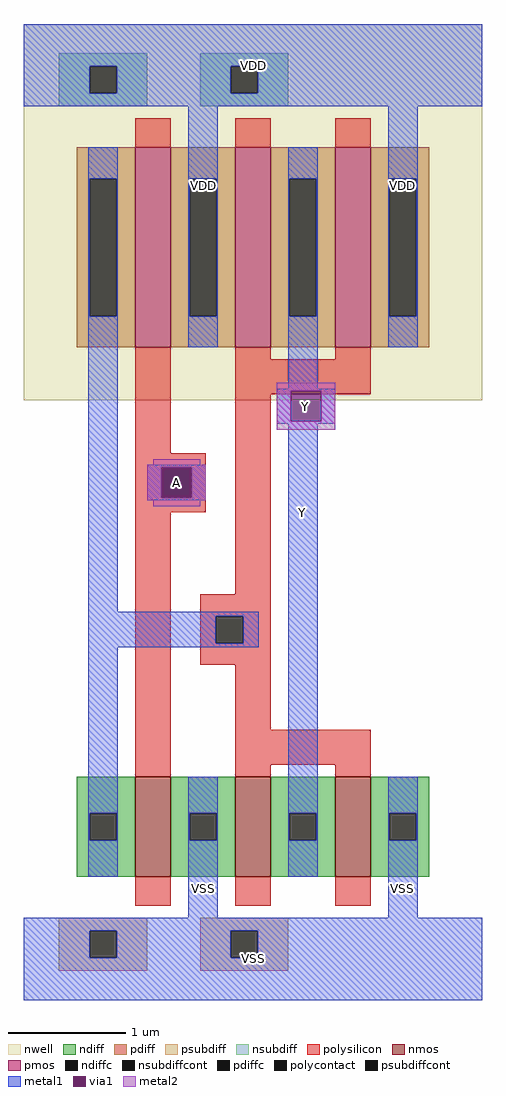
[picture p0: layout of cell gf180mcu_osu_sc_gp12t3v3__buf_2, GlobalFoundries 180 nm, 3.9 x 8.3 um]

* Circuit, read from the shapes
.subckt gf180mcu_osu_sc_gp12t3v3__buf_2 A Y VDD VSS
XM1 VSS A n1 VSS nfet_03v3 w=0.85u l=0.3u
XM2 Y n1 VSS VSS nfet_03v3 w=0.85u l=0.3u m=2
XM3 VDD A n1 VDD pfet_03v3 w=1.7u l=0.3u
XM4 Y n1 VDD VDD pfet_03v3 w=1.7u l=0.3u m=2
.ends

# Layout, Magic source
magic
tech gf180mcuA
magscale 1 10
<< nwell >>
rect 0 1020 780 1660
<< nmos >>
rect 190 210 250 380
rect 360 210 420 380
rect 530 210 590 380
<< pmos >>
rect 190 1110 250 1450
rect 360 1110 420 1450
rect 530 1110 590 1450
<< ndiff >>
rect 90 318 190 380
rect 90 272 112 318
rect 158 272 190 318
rect 90 210 190 272
rect 250 318 360 380
rect 250 272 282 318
rect 328 272 360 318
rect 250 210 360 272
rect 420 318 530 380
rect 420 272 452 318
rect 498 272 530 318
rect 420 210 530 272
rect 590 318 690 380
rect 590 272 622 318
rect 668 272 690 318
rect 590 210 690 272
<< pdiff >>
rect 90 1397 190 1450
rect 90 1163 112 1397
rect 158 1163 190 1397
rect 90 1110 190 1163
rect 250 1397 360 1450
rect 250 1163 282 1397
rect 328 1163 360 1397
rect 250 1110 360 1163
rect 420 1397 530 1450
rect 420 1163 452 1397
rect 498 1163 530 1397
rect 420 1110 530 1163
rect 590 1397 690 1450
rect 590 1163 622 1397
rect 668 1163 690 1397
rect 590 1110 690 1163
<< ndiffc >>
rect 112 272 158 318
rect 282 272 328 318
rect 452 272 498 318
rect 622 272 668 318
<< pdiffc >>
rect 112 1163 158 1397
rect 282 1163 328 1397
rect 452 1163 498 1397
rect 622 1163 668 1397
<< psubdiff >>
rect 60 118 210 140
rect 60 72 112 118
rect 158 72 210 118
rect 60 50 210 72
rect 300 118 450 140
rect 300 72 352 118
rect 398 72 450 118
rect 300 50 450 72
<< nsubdiff >>
rect 60 1588 210 1610
rect 60 1542 112 1588
rect 158 1542 210 1588
rect 60 1520 210 1542
rect 300 1588 450 1610
rect 300 1542 352 1588
rect 398 1542 450 1588
rect 300 1520 450 1542
<< psubdiffcont >>
rect 112 72 158 118
rect 352 72 398 118
<< nsubdiffcont >>
rect 112 1542 158 1588
rect 352 1542 398 1588
<< polysilicon >>
rect 190 1450 250 1500
rect 360 1450 420 1500
rect 530 1450 590 1500
rect 190 930 250 1110
rect 360 1090 420 1110
rect 530 1090 590 1110
rect 360 1030 590 1090
rect 190 903 310 930
rect 190 857 237 903
rect 283 857 310 903
rect 190 830 310 857
rect 190 380 250 830
rect 360 690 420 1030
rect 300 653 420 690
rect 300 607 327 653
rect 373 607 420 653
rect 300 570 420 607
rect 360 460 420 570
rect 360 400 590 460
rect 360 380 420 400
rect 530 380 590 400
rect 190 160 250 210
rect 360 160 420 210
rect 530 160 590 210
<< polycontact >>
rect 237 857 283 903
rect 327 607 373 653
<< metal1 >>
rect 0 1588 780 1660
rect 0 1542 112 1588
rect 158 1542 352 1588
rect 398 1542 780 1588
rect 0 1520 780 1542
rect 110 1397 160 1450
rect 110 1163 112 1397
rect 158 1163 160 1397
rect 110 660 160 1163
rect 280 1397 330 1520
rect 280 1163 282 1397
rect 328 1163 330 1397
rect 280 1110 330 1163
rect 450 1397 500 1450
rect 450 1163 452 1397
rect 498 1163 500 1397
rect 450 1040 500 1163
rect 620 1397 670 1520
rect 620 1163 622 1397
rect 668 1163 670 1397
rect 620 1110 670 1163
rect 430 1036 530 1040
rect 430 984 454 1036
rect 506 984 530 1036
rect 430 980 530 984
rect 210 906 310 910
rect 210 854 234 906
rect 286 854 310 906
rect 210 850 310 854
rect 110 653 400 660
rect 110 607 327 653
rect 373 607 400 653
rect 110 600 400 607
rect 110 318 160 600
rect 110 272 112 318
rect 158 272 160 318
rect 110 210 160 272
rect 280 318 330 380
rect 280 272 282 318
rect 328 272 330 318
rect 280 140 330 272
rect 450 318 500 980
rect 450 272 452 318
rect 498 272 500 318
rect 450 210 500 272
rect 620 318 670 380
rect 620 272 622 318
rect 668 272 670 318
rect 620 140 670 272
rect 0 118 780 140
rect 0 72 112 118
rect 158 72 352 118
rect 398 72 780 118
rect 0 0 780 72
<< via1 >>
rect 454 984 506 1036
rect 234 903 286 906
rect 234 857 237 903
rect 237 857 283 903
rect 283 857 286 903
rect 234 854 286 857
<< metal2 >>
rect 430 1036 530 1050
rect 430 984 454 1036
rect 506 984 530 1036
rect 430 970 530 984
rect 220 910 300 920
rect 210 906 310 910
rect 210 854 234 906
rect 286 854 310 906
rect 210 850 310 854
rect 220 840 300 850
<< labels >>
rlabel via1 s 234 854 286 906 4 A
port 1 nsew signal input
rlabel via1 s 454 984 506 1036 4 Y
port 2 nsew signal output
rlabel metal1 s 280 1110 330 1660 4 VDD
port 3 nsew power bidirectional abutment
rlabel metal1 s 280 0 330 380 4 VSS
port 4 nsew ground bidirectional abutment
rlabel metal1 s 620 1110 670 1660 1 VDD
port 3 nsew power bidirectional abutment
rlabel metal1 s 0 1520 780 1660 1 VDD
port 3 nsew power bidirectional abutment
rlabel metal1 s 620 0 670 380 1 VSS
port 4 nsew ground bidirectional abutment
rlabel metal1 s 0 0 780 140 1 VSS
port 4 nsew ground bidirectional abutment
rlabel metal2 s 220 840 300 920 1 A
port 1 nsew signal input
rlabel metal2 s 210 850 310 910 1 A
port 1 nsew signal input
rlabel metal1 s 210 850 310 910 1 A
port 1 nsew signal input
rlabel metal2 s 430 970 530 1050 1 Y
port 2 nsew signal output
rlabel metal1 s 450 210 500 1450 1 Y
port 2 nsew signal output
rlabel metal1 s 430 980 530 1040 1 Y
port 2 nsew signal output
<< properties >>
string FIXED_BBOX 0 0 780 1660
string GDS_END 56856
string GDS_FILE $PDKPATH/libs.ref/gf180mcu_osu_sc_gp12t3v3/gds/gf180mcu_osu_sc_gp12t3v3.gds
string GDS_START 52216
string LEFclass CORE
string LEFsite gf180mcu_osu_sc_gp12t3v3
string LEFsymmetry X Y
<< end >>
